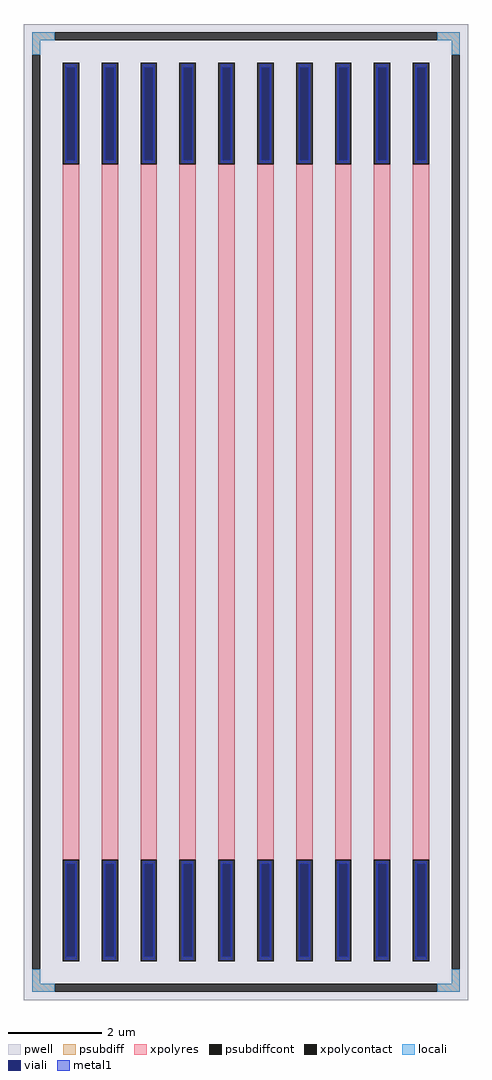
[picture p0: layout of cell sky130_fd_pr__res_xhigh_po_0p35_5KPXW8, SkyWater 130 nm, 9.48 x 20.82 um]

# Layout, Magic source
magic
tech sky130A
magscale 1 2
<< pwell >>
rect -948 -2082 948 2082
<< psubdiff >>
rect -912 2012 -816 2046
rect 816 2012 912 2046
rect -912 1950 -878 2012
rect 878 1950 912 2012
rect -912 -2012 -878 -1950
rect 878 -2012 912 -1950
rect -912 -2046 -816 -2012
rect 816 -2046 912 -2012
<< psubdiffcont >>
rect -816 2012 816 2046
rect -912 -1950 -878 1950
rect 878 -1950 912 1950
rect -816 -2046 816 -2012
<< xpolycontact >>
rect -782 1484 -712 1916
rect -782 -1916 -712 -1484
rect -616 1484 -546 1916
rect -616 -1916 -546 -1484
rect -450 1484 -380 1916
rect -450 -1916 -380 -1484
rect -284 1484 -214 1916
rect -284 -1916 -214 -1484
rect -118 1484 -48 1916
rect -118 -1916 -48 -1484
rect 48 1484 118 1916
rect 48 -1916 118 -1484
rect 214 1484 284 1916
rect 214 -1916 284 -1484
rect 380 1484 450 1916
rect 380 -1916 450 -1484
rect 546 1484 616 1916
rect 546 -1916 616 -1484
rect 712 1484 782 1916
rect 712 -1916 782 -1484
<< xpolyres >>
rect -782 -1484 -712 1484
rect -616 -1484 -546 1484
rect -450 -1484 -380 1484
rect -284 -1484 -214 1484
rect -118 -1484 -48 1484
rect 48 -1484 118 1484
rect 214 -1484 284 1484
rect 380 -1484 450 1484
rect 546 -1484 616 1484
rect 712 -1484 782 1484
<< locali >>
rect -912 2012 -816 2046
rect 816 2012 912 2046
rect -912 1950 -878 2012
rect 878 1950 912 2012
rect -912 -2012 -878 -1950
rect 878 -2012 912 -1950
rect -912 -2046 -816 -2012
rect 816 -2046 912 -2012
<< viali >>
rect -766 1501 -728 1898
rect -600 1501 -562 1898
rect -434 1501 -396 1898
rect -268 1501 -230 1898
rect -102 1501 -64 1898
rect 64 1501 102 1898
rect 230 1501 268 1898
rect 396 1501 434 1898
rect 562 1501 600 1898
rect 728 1501 766 1898
rect -766 -1898 -728 -1501
rect -600 -1898 -562 -1501
rect -434 -1898 -396 -1501
rect -268 -1898 -230 -1501
rect -102 -1898 -64 -1501
rect 64 -1898 102 -1501
rect 230 -1898 268 -1501
rect 396 -1898 434 -1501
rect 562 -1898 600 -1501
rect 728 -1898 766 -1501
<< metal1 >>
rect -772 1898 -722 1910
rect -772 1501 -766 1898
rect -728 1501 -722 1898
rect -772 1489 -722 1501
rect -606 1898 -556 1910
rect -606 1501 -600 1898
rect -562 1501 -556 1898
rect -606 1489 -556 1501
rect -440 1898 -390 1910
rect -440 1501 -434 1898
rect -396 1501 -390 1898
rect -440 1489 -390 1501
rect -274 1898 -224 1910
rect -274 1501 -268 1898
rect -230 1501 -224 1898
rect -274 1489 -224 1501
rect -108 1898 -58 1910
rect -108 1501 -102 1898
rect -64 1501 -58 1898
rect -108 1489 -58 1501
rect 58 1898 108 1910
rect 58 1501 64 1898
rect 102 1501 108 1898
rect 58 1489 108 1501
rect 224 1898 274 1910
rect 224 1501 230 1898
rect 268 1501 274 1898
rect 224 1489 274 1501
rect 390 1898 440 1910
rect 390 1501 396 1898
rect 434 1501 440 1898
rect 390 1489 440 1501
rect 556 1898 606 1910
rect 556 1501 562 1898
rect 600 1501 606 1898
rect 556 1489 606 1501
rect 722 1898 772 1910
rect 722 1501 728 1898
rect 766 1501 772 1898
rect 722 1489 772 1501
rect -772 -1501 -722 -1489
rect -772 -1898 -766 -1501
rect -728 -1898 -722 -1501
rect -772 -1910 -722 -1898
rect -606 -1501 -556 -1489
rect -606 -1898 -600 -1501
rect -562 -1898 -556 -1501
rect -606 -1910 -556 -1898
rect -440 -1501 -390 -1489
rect -440 -1898 -434 -1501
rect -396 -1898 -390 -1501
rect -440 -1910 -390 -1898
rect -274 -1501 -224 -1489
rect -274 -1898 -268 -1501
rect -230 -1898 -224 -1501
rect -274 -1910 -224 -1898
rect -108 -1501 -58 -1489
rect -108 -1898 -102 -1501
rect -64 -1898 -58 -1501
rect -108 -1910 -58 -1898
rect 58 -1501 108 -1489
rect 58 -1898 64 -1501
rect 102 -1898 108 -1501
rect 58 -1910 108 -1898
rect 224 -1501 274 -1489
rect 224 -1898 230 -1501
rect 268 -1898 274 -1501
rect 224 -1910 274 -1898
rect 390 -1501 440 -1489
rect 390 -1898 396 -1501
rect 434 -1898 440 -1501
rect 390 -1910 440 -1898
rect 556 -1501 606 -1489
rect 556 -1898 562 -1501
rect 600 -1898 606 -1501
rect 556 -1910 606 -1898
rect 722 -1501 772 -1489
rect 722 -1898 728 -1501
rect 766 -1898 772 -1501
rect 722 -1910 772 -1898
<< properties >>
string FIXED_BBOX -895 -2029 895 2029
string gencell sky130_fd_pr__res_xhigh_po_0p35
string library sky130
string parameters w 0.350 l 15 m 1 nx 10 wmin 0.350 lmin 0.50 rho 2000 val 86.789k dummy 0 dw 0.0 term 188.2 sterm 0.0 caplen 0 wmax 0.350 guard 1 glc 1 grc 1 gtc 1 gbc 1 compatible {sky130_fd_pr__res_xhigh_po_0p35  sky130_fd_pr__res_xhigh_po_0p69 sky130_fd_pr__res_xhigh_po_1p41  sky130_fd_pr__res_xhigh_po_2p85 sky130_fd_pr__res_xhigh_po_5p73} snake 0 full_metal 1 n_guard 0 hv_guard 0 vias 1 viagb 0 viagt 0 viagl 0 viagr 0
<< end >>
